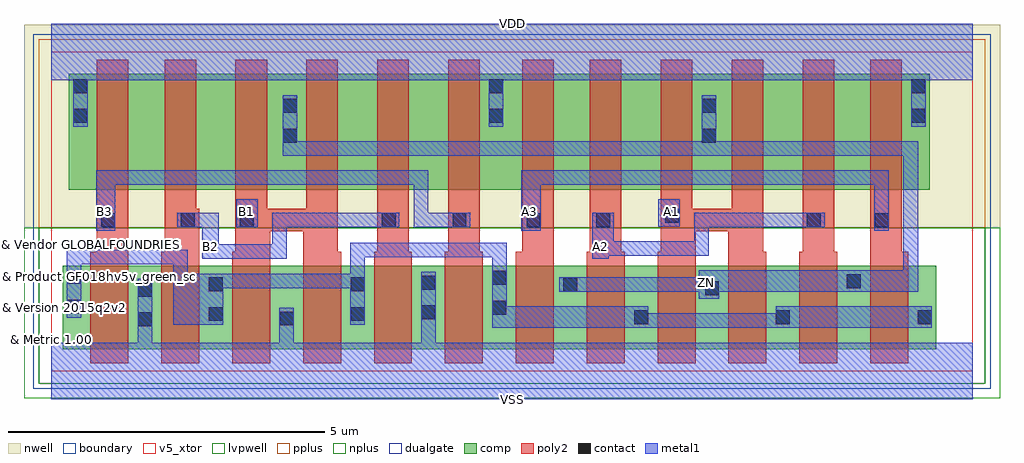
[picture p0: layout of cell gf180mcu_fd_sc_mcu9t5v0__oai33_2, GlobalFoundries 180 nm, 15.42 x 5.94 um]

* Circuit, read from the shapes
.subckt gf180mcu_fd_sc_mcu9t5v0__oai33_2 A1 A2 A3 B1 B2 B3 VDD VSS ZN
XM1 VSS B3 n1 VSUBS nfet_05v0 w=1.32u l=0.6u m=2
XM2 n1 B2 VSS VSUBS nfet_05v0 w=1.32u l=0.6u m=2
XM3 VSS B1 n1 VSUBS nfet_05v0 w=1.32u l=0.6u m=2
XM4 ZN A3 n1 VSUBS nfet_05v0 w=1.32u l=0.6u m=2
XM5 n1 A2 ZN VSUBS nfet_05v0 w=1.32u l=0.6u m=2
XM6 ZN A1 n1 VSUBS nfet_05v0 w=1.32u l=0.6u m=2
XM7 n2 B3 VDD n3 pfet_05v0 w=1.83u l=0.5u
XM8 n4 B2 n2 n3 pfet_05v0 w=1.83u l=0.5u
XM9 ZN B1 n4 n3 pfet_05v0 w=1.83u l=0.5u
XM10 n5 B1 ZN n3 pfet_05v0 w=1.83u l=0.5u
XM11 n6 B2 n5 n3 pfet_05v0 w=1.83u l=0.5u
XM12 VDD B3 n6 n3 pfet_05v0 w=1.83u l=0.5u
XM13 n7 A3 VDD n3 pfet_05v0 w=1.83u l=0.5u
XM14 n8 A2 n7 n3 pfet_05v0 w=1.83u l=0.5u
XM15 ZN A1 n8 n3 pfet_05v0 w=1.83u l=0.5u
XM16 n9 A1 ZN n3 pfet_05v0 w=1.83u l=0.5u
XM17 n10 A2 n9 n3 pfet_05v0 w=1.83u l=0.5u
XM18 VDD A3 n10 n3 pfet_05v0 w=1.83u l=0.5u
.ends

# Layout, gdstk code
import gdstk
lib = gdstk.Library(unit=1e-6, precision=1e-09)
def R(c, l, rs):  # rectangles x0, y0, x1, y1
    for r in rs: c.add(gdstk.rectangle(r[:2], r[2:], *l))
def A(c, l, x, y, w, h, nx, ny, dx, dy):  # array of equal rectangles
    R(c, l, [(x+i*dx, y+j*dy, x+i*dx+w, y+j*dy+h) for i in range(nx) for j in range(ny)])
def P(c, l, *ps):  # polygons
    for p in ps: c.add(gdstk.Polygon(p, *l))
boundary = (0, 0)
nwell = (21, 0)
comp = (22, 0)
poly2 = (30, 0)
pplus = (31, 0)
nplus = (32, 0)
contact = (33, 0)
metal1 = (34, 0)
dualgate = (55, 0)
v5_xtor = (112, 1)
lvpwell = (204, 0)

gf180mcu_fd_sc_mcu9t5v0_ = lib.new_cell('gf180mcu_fd_sc_mcu9t5v0__oai33_2')
R(gf180mcu_fd_sc_mcu9t5v0_, boundary, [(0,0,14.56,5.04)])
R(gf180mcu_fd_sc_mcu9t5v0_, nwell, [(-0.43,2.265,14.99,5.47)])
R(gf180mcu_fd_sc_mcu9t5v0_, comp, [(0.18,0.345,13.98,1.665), (0.28,2.865,13.88,4.695)])
P(gf180mcu_fd_sc_mcu9t5v0_, poly2, [(0.62,0.125),(0.62,1.885),(0.72,1.885),(0.72,4.915),(1.22,4.915),(1.22,0.125)],
  [(1.74,0.125),(1.74,1.885),(1.79,1.885),(1.79,4.915),(2.29,4.915),(2.29,2.565),(2.34,2.565),(2.34,0.125)],
  [(2.86,0.125),(2.86,1.885),(2.91,1.885),(2.91,4.915),(3.41,4.915),(3.41,2.565),(4.03,2.565),(4.03,4.915),(4.53,4.915),(4.53,1.885),(4.58,1.885),(4.58,0.125),(3.98,0.125),(3.98,2.205),(3.46,2.205),(3.46,0.125)],
  [(5.1,0.125),(5.1,1.885),(5.15,1.885),(5.15,4.915),(5.65,4.915),(5.65,1.885),(5.7,1.885),(5.7,0.125)],
  [(6.22,0.125),(6.22,1.885),(6.27,1.885),(6.27,4.915),(6.77,4.915),(6.77,1.885),(6.82,1.885),(6.82,0.125)],
  [(7.34,0.125),(7.34,1.885),(7.44,1.885),(7.44,4.915),(7.94,4.915),(7.94,0.125)],
  [(8.46,0.125),(8.46,1.885),(8.51,1.885),(8.51,4.915),(9.01,4.915),(9.01,1.885),(9.06,1.885),(9.06,0.125)],
  [(9.58,0.125),(9.58,1.885),(9.63,1.885),(9.63,4.915),(10.13,4.915),(10.13,2.565),(10.75,2.565),(10.75,4.915),(11.25,4.915),(11.25,1.885),(11.3,1.885),(11.3,0.125),(10.7,0.125),(10.7,2.205),(10.18,2.205),(10.18,0.125)],
  [(11.82,0.125),(11.82,1.885),(11.87,1.885),(11.87,4.915),(12.37,4.915),(12.37,1.885),(12.42,1.885),(12.42,0.125)],
  [(12.94,0.125),(12.94,4.915),(13.44,4.915),(13.44,1.885),(13.54,1.885),(13.54,0.125)])
R(gf180mcu_fd_sc_mcu9t5v0_, pplus, [(-0.2,2.265,14.76,5.24)])
R(gf180mcu_fd_sc_mcu9t5v0_, nplus, [(-0.2,-0.2,14.76,2.265)])
A(gf180mcu_fd_sc_mcu9t5v0_, contact, 9.21, 0.74, 0.22, 0.22, 3, 1, 2.24, 0)
R(gf180mcu_fd_sc_mcu9t5v0_, contact, [(1.37,0.705,1.59,0.925), (3.61,0.72,3.83,0.94), (2.49,0.79,2.71,1.01), (4.73,0.79,4.95,1.01), (5.85,0.815,6.07,1.035), (6.97,0.89,7.19,1.11), (0.25,0.905,0.47,1.125), (1.37,1.175,1.59,1.395), (10.33,1.2,10.55,1.42), (8.09,1.255,8.31,1.475), (2.49,1.26,2.71,1.48), (4.73,1.26,4.95,1.48), (5.85,1.285,6.07,1.505), (12.57,1.31,12.79,1.53), (6.97,1.36,7.19,1.58), (0.25,1.375,0.47,1.595), (0.79,2.275,1.01,2.495), (2.05,2.275,2.27,2.495), (2.98,2.275,3.2,2.495), (5.22,2.275,5.44,2.495), (6.34,2.275,6.56,2.495), (7.51,2.275,7.73,2.495), (8.61,2.275,8.83,2.495), (11.94,2.275,12.16,2.495), (13.01,2.275,13.23,2.495), (9.7,2.34,9.92,2.56), (3.66,3.61,3.88,3.83), (10.28,3.61,10.5,3.83), (0.35,3.92,0.57,4.14), (6.92,3.92,7.14,4.14), (13.59,3.92,13.81,4.14), (3.66,4.08,3.88,4.3), (10.28,4.08,10.5,4.3), (0.35,4.39,0.57,4.61), (6.92,4.39,7.14,4.61), (13.59,4.39,13.81,4.61)])
R(gf180mcu_fd_sc_mcu9t5v0_, metal1, [(2.92,2.27,3.26,2.71), (9.59,2.28,9.93,2.71)])
P(gf180mcu_fd_sc_mcu9t5v0_, metal1, [(2.39,1.77),(2.39,2.27),(1.99,2.27),(1.99,2.5),(2.65,2.5),(2.65,2),(3.49,2),(3.49,2.5),(5.5,2.5),(5.5,2.27),(3.72,2.27),(3.72,1.77)],
  [(0.71,2.215),(0.71,3.17),(5.96,3.17),(5.96,2.5),(6.62,2.5),(6.62,2.27),(5.73,2.27),(5.73,2.94),(1.015,2.94),(1.015,2.215)],
  [(8.55,1.77),(8.55,2.5),(8.89,2.5),(8.89,2.05),(10.16,2.05),(10.16,2.5),(12.22,2.5),(12.22,2.27),(10.39,2.27),(10.39,1.82),(8.81,1.82),(8.81,1.77)],
  [(7.43,2.215),(7.43,3.17),(13.235,3.17),(13.235,2.215),(13.005,2.215),(13.005,2.94),(7.735,2.94),(7.735,2.215)],
  [(10.23,1.14),(10.23,1.25),(8.03,1.25),(8.03,1.48),(10.23,1.48),(10.23,1.59),(13.465,1.59),(13.465,3.4),(3.655,3.4),(3.655,4.36),(3.885,4.36),(3.885,3.63),(10.275,3.63),(10.275,4.36),(10.505,4.36),(10.505,3.63),(13.695,3.63),(13.695,1.25),(10.555,1.25),(10.555,1.14)],
  [(6.965,0.68),(6.965,1.795),(4.955,1.795),(4.955,0.73),(4.725,0.73),(4.725,1.31),(2.715,1.31),(2.715,0.73),(1.93,0.73),(1.93,1.685),(0.475,1.685),(0.475,0.845),(0.245,0.845),(0.245,1.915),(2.16,1.915),(2.16,1.54),(4.725,1.54),(4.725,2.025),(7.195,2.025),(7.195,1.02),(9.435,1.02),(9.435,0.91),(11.445,0.91),(11.445,1.02),(13.915,1.02),(13.915,0.68)],
  [(0,-0.45),(0,0.45),(1.365,0.45),(1.365,1.455),(1.595,1.455),(1.595,0.45),(3.605,0.45),(3.605,1),(3.835,1),(3.835,0.45),(5.845,0.45),(5.845,1.565),(6.075,1.565),(6.075,0.45),(14.56,0.45),(14.56,-0.45)],
  [(0.345,3.86),(0.345,4.59),(0,4.59),(0,5.49),(14.56,5.49),(14.56,4.59),(13.815,4.59),(13.815,3.86),(13.585,3.86),(13.585,4.59),(7.145,4.59),(7.145,3.86),(6.915,3.86),(6.915,4.59),(0.575,4.59),(0.575,3.86)])
R(gf180mcu_fd_sc_mcu9t5v0_, dualgate, [(-0.28,-0.28,14.84,5.32)])
R(gf180mcu_fd_sc_mcu9t5v0_, v5_xtor, [(0,0,14.56,5.04)])
R(gf180mcu_fd_sc_mcu9t5v0_, lvpwell, [(-0.43,-0.43,14.99,2.265)])
gf180mcu_fd_sc_mcu9t5v0_.add(gdstk.Label('A1', (9.8,2.52), layer=34, texttype=10))
gf180mcu_fd_sc_mcu9t5v0_.add(gdstk.Label('A2', (8.68,1.96), layer=34, texttype=10))
gf180mcu_fd_sc_mcu9t5v0_.add(gdstk.Label('A3', (7.56,2.52), layer=34, texttype=10))
gf180mcu_fd_sc_mcu9t5v0_.add(gdstk.Label('B1', (3.08,2.52), layer=34, texttype=10))
gf180mcu_fd_sc_mcu9t5v0_.add(gdstk.Label('B2', (2.52,1.96), layer=34, texttype=10))
gf180mcu_fd_sc_mcu9t5v0_.add(gdstk.Label('B3', (0.84,2.52), layer=34, texttype=10))
gf180mcu_fd_sc_mcu9t5v0_.add(gdstk.Label('VDD', (7.28,5.49), layer=34, texttype=10))
gf180mcu_fd_sc_mcu9t5v0_.add(gdstk.Label('VSS', (7.28,-0.45), layer=34, texttype=10))
gf180mcu_fd_sc_mcu9t5v0_.add(gdstk.Label('ZN', (10.36,1.4), layer=34, texttype=10))
gf180mcu_fd_sc_mcu9t5v0_.add(gdstk.Label('& Vendor GLOBALFOUNDRIES', (0,2), layer=63, texttype=63))
gf180mcu_fd_sc_mcu9t5v0_.add(gdstk.Label('& Product GF018hv5v_green_sc9', (0,1.5), layer=63, texttype=63))
gf180mcu_fd_sc_mcu9t5v0_.add(gdstk.Label('& Version 2015q2v2', (0,1), layer=63, texttype=63))
gf180mcu_fd_sc_mcu9t5v0_.add(gdstk.Label('& Metric 1.00', (0,0.5), layer=63, texttype=63))

lib.write_gds('gf180mcu_fd_sc_mcu9t5v0__oai33_2.gds')
